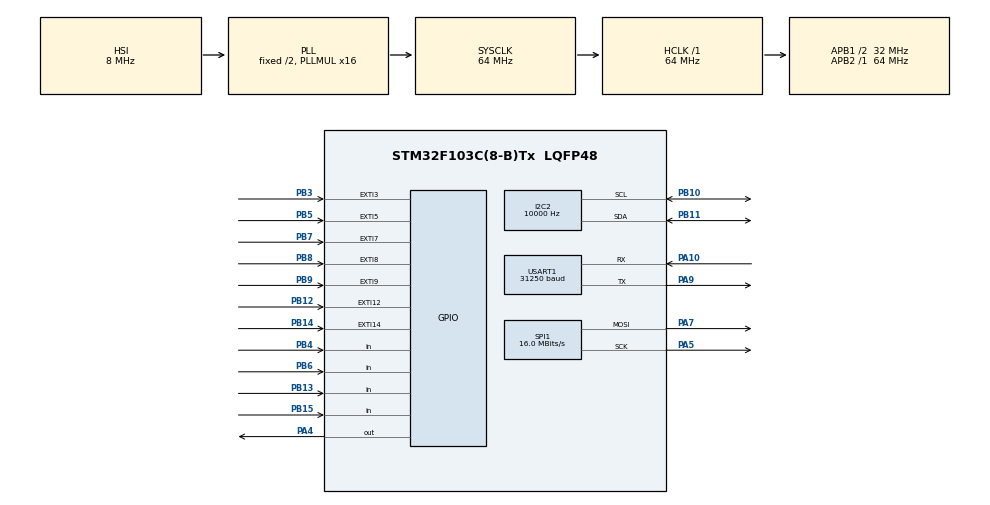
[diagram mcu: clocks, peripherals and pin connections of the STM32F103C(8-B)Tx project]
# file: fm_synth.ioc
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Mcu.Family=STM32F1
SPI1.VirtualType=VM_MASTER
Dma.I2C2_TX.0.Priority=DMA_PRIORITY_LOW
PB10.Mode=I2C
PA10.GPIO_PuPd=GPIO_NOPULL
USART1.BaudRate=31250
NVIC.EXTI3_IRQn=true\:1\:0\:true\:false\:true\:true\:true
PB3.GPIO_ModeDefaultEXTI=GPIO_MODE_IT_FALLING
PB11.Signal=I2C2_SDA
PB13.Signal=GPIO_Input
PB15.Signal=GPIO_Input
RCC.SYSCLKSource=RCC_SYSCLKSOURCE_PLLCLK
ProjectManager.StackSize=0x400
SPI1.Direction=SPI_DIRECTION_2LINES
RCC.HCLKFreq_Value=64000000
RCC.APB2TimFreq_Value=64000000
Dma.I2C2_TX.0.MemDataAlignment=DMA_MDATAALIGN_BYTE
PB6.Signal=GPIO_Input
SPI1.CalculateBaudRate=16.0 MBits/s
RCC.AHBFreq_Value=64000000
NVIC.EXTI15_10_IRQn=true\:1\:0\:true\:false\:true\:true\:true
RCC.PLLMUL=RCC_PLL_MUL16
PB3.GPIO_PuPd=GPIO_PULLUP
PA14.Mode=Serial_Wire
NVIC.TIM2_IRQn=true\:2\:0\:true\:false\:true\:true\:true
SPI1.DataSize=SPI_DATASIZE_16BIT
PB7.Signal=GPXTI7
Mcu.Package=LQFP48
PB9.Signal=GPXTI9
TIM2.Prescaler=0
PB14.GPIO_PuPd=GPIO_PULLUP
PB15.GPIO_PuPd=GPIO_PULLUP
PA10.Signal=USART1_RX
Dma.I2C2_TX.0.Direction=DMA_MEMORY_TO_PERIPH
RCC.APB1TimFreq_Value=64000000
NVIC.DMA1_Channel4_IRQn=true\:1\:0\:true\:false\:true\:false\:true
NVIC.USART1_IRQn=true\:0\:0\:true\:false\:true\:true\:true
Dma.Request0=I2C2_TX
SPI1.BaudRatePrescaler=SPI_BAUDRATEPRESCALER_4
I2C2.I2C_Mode=I2C_Standard
PB4.Signal=GPIO_Input
PA5.Mode=TX_Only_Simplex_Unidirect_Master
PB5.GPIO_ModeDefaultEXTI=GPIO_MODE_IT_FALLING
PB14.GPIO_ModeDefaultEXTI=GPIO_MODE_IT_FALLING
Dma.I2C2_TX.0.Mode=DMA_NORMAL
PA7.Mode=TX_Only_Simplex_Unidirect_Master
PA10.Mode=Asynchronous
PB6.GPIO_PuPd=GPIO_PULLUP
Dma.I2C2_TX.0.PeriphInc=DMA_PINC_DISABLE
RCC.APB1CLKDivider=RCC_HCLK_DIV2
I2C2.OwnAddress=0x0
PA13.Signal=SYS_JTMS-SWDIO
PA9.Mode=Asynchronous
PA4.PinState=GPIO_PIN_SET
PB11.Mode=I2C
ProjectManager.TargetToolchain=STM32CubeIDE
PA9.Signal=USART1_TX
PB4.GPIO_PuPd=GPIO_PULLUP
RCC.USBFreq_Value=64000000
PB10.Signal=I2C2_SCL
PB14.Signal=GPXTI14
PA5.Signal=SPI1_SCK
board=custom
PB13.GPIO_PuPd=GPIO_PULLUP
RCC.APB2Freq_Value=64000000
USART1.Mode=MODE_RX
VP_TIM2_VS_ClockSourceINT.Mode=Internal
SPI1.Mode=SPI_MODE_MASTER
Dma.I2C2_TX.0.Instance=DMA1_Channel4
I2C2.ClockSpeed=10000
TIM2.Period=1451-1
PA13.Mode=Serial_Wire
Mcu.Name=STM32F103C(8-B)Tx
PB3.Signal=GPXTI3
PA4.Signal=GPIO_Output
RCC.SYSCLKFreq_VALUE=64000000
PB5.Signal=GPXTI5
PB5.GPIO_PuPd=GPIO_PULLUP
USART1.VirtualMode=VM_ASYNC
NVIC.EXTI9_5_IRQn=true\:1\:0\:true\:false\:true\:true\:true
PA14.Signal=SYS_JTCK-SWCLK
ProjectManager.HeapSize=0x200
PB12.GPIO_ModeDefaultEXTI=GPIO_MODE_IT_FALLING
NVIC.I2C2_EV_IRQn=true\:1\:0\:true\:false\:true\:true\:true
NVIC.PriorityGroup=NVIC_PRIORITYGROUP_4
Dma.I2C2_TX.0.PeriphDataAlignment=DMA_PDATAALIGN_BYTE
PB8.Signal=GPXTI8
TIM2.AutoReloadPreload=TIM_AUTORELOAD_PRELOAD_DISABLE
Dma.I2C2_TX.0.MemInc=DMA_MINC_ENABLE
PB12.GPIO_PuPd=GPIO_PULLUP
RCC.APB1Freq_Value=32000000
PB12.Signal=GPXTI12
PA7.Signal=SPI1_MOSI

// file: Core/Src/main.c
/* USER CODE BEGIN Header */
/**
  ******************************************************************************
  * @file           : main.c
  * @brief          : Main program body
  ******************************************************************************
  * @attention
  *
  * <h2><center>&copy; Copyright (c) 2021 STMicroelectronics.
  * All rights reserved.</center></h2>
  *
  * This software component is licensed by ST under BSD 3-Clause license,
  * the "License"; You may not use this file except in compliance with the
  * License. You may obtain a copy of the License at:
  *                        opensource.org/licenses/BSD-3-Clause
  *
  ******************************************************************************
  */
/* USER CODE END Header */
#include "main.h"

/* USER CODE BEGIN Includes */
#include "midi.h"
#include "audio_out.h"
#include "synth.h"
#include "ui_fsm.h"

/* USER CODE END Includes */

I2C_HandleTypeDef hi2c2;
DMA_HandleTypeDef hdma_i2c2_tx;

SPI_HandleTypeDef hspi1;

TIM_HandleTypeDef htim2;

UART_HandleTypeDef huart1;

void SystemClock_Config(void);
static void MX_GPIO_Init(void);
static void MX_DMA_Init(void);
static void MX_USART1_UART_Init(void);
static void MX_TIM2_Init(void);
static void MX_SPI1_Init(void);
static void MX_I2C2_Init(void);

int main(void)
{

  /* MCU Configuration--------------------------------------------------------*/

  /* Reset of all peripherals, Initializes the Flash interface and the Systick. */
  HAL_Init();

  /* Configure the system clock */
  SystemClock_Config();

  /* Initialize all configured peripherals */
  MX_GPIO_Init();
  MX_DMA_Init();
  MX_USART1_UART_Init();
  MX_TIM2_Init();
  MX_SPI1_Init();
  MX_I2C2_Init();
  /* USER CODE BEGIN 2 */
  init_midi(&huart1);
  init_synth();
  init_audio_out(&hspi1, &htim2);
  init_ui(&hi2c2);
  /* USER CODE END 2 */

  /* Infinite loop */
  /* USER CODE BEGIN WHILE */
  while (1)
  {
	if (midi_buffer_read != midi_buffer_write) {
		process_midi_byte(&huart1);
	}
    /* USER CODE END WHILE */

  }
}

void SystemClock_Config(void)
{
  RCC_OscInitTypeDef RCC_OscInitStruct = {0};
  RCC_ClkInitTypeDef RCC_ClkInitStruct = {0};

  /** Initializes the RCC Oscillators according to the specified parameters
  * in the RCC_OscInitTypeDef structure.
  */
  RCC_OscInitStruct.OscillatorType = RCC_OSCILLATORTYPE_HSI;
  RCC_OscInitStruct.HSIState = RCC_HSI_ON;
  RCC_OscInitStruct.HSICalibrationValue = RCC_HSICALIBRATION_DEFAULT;
  RCC_OscInitStruct.PLL.PLLState = RCC_PLL_ON;
  RCC_OscInitStruct.PLL.PLLSource = RCC_PLLSOURCE_HSI_DIV2;
  RCC_OscInitStruct.PLL.PLLMUL = RCC_PLL_MUL16;
  if (HAL_RCC_OscConfig(&RCC_OscInitStruct) != HAL_OK)
  {
    Error_Handler();
  }
  /** Initializes the CPU, AHB and APB buses clocks
  */
  RCC_ClkInitStruct.ClockType = RCC_CLOCKTYPE_HCLK|RCC_CLOCKTYPE_SYSCLK
                              |RCC_CLOCKTYPE_PCLK1|RCC_CLOCKTYPE_PCLK2;
  RCC_ClkInitStruct.SYSCLKSource = RCC_SYSCLKSOURCE_PLLCLK;
  RCC_ClkInitStruct.AHBCLKDivider = RCC_SYSCLK_DIV1;
  RCC_ClkInitStruct.APB1CLKDivider = RCC_HCLK_DIV2;
  RCC_ClkInitStruct.APB2CLKDivider = RCC_HCLK_DIV1;

  if (HAL_RCC_ClockConfig(&RCC_ClkInitStruct, FLASH_LATENCY_2) != HAL_OK)
  {
    Error_Handler();
  }
}

static void MX_I2C2_Init(void)
{

  hi2c2.Instance = I2C2;
  hi2c2.Init.ClockSpeed = 10000;
  hi2c2.Init.DutyCycle = I2C_DUTYCYCLE_2;
  hi2c2.Init.OwnAddress1 = 0;
  hi2c2.Init.AddressingMode = I2C_ADDRESSINGMODE_7BIT;
  hi2c2.Init.DualAddressMode = I2C_DUALADDRESS_DISABLE;
  hi2c2.Init.OwnAddress2 = 0;
  hi2c2.Init.GeneralCallMode = I2C_GENERALCALL_DISABLE;
  hi2c2.Init.NoStretchMode = I2C_NOSTRETCH_DISABLE;
  if (HAL_I2C_Init(&hi2c2) != HAL_OK)
  {
    Error_Handler();
  }

}

static void MX_SPI1_Init(void)
{

  /* SPI1 parameter configuration*/
  hspi1.Instance = SPI1;
  hspi1.Init.Mode = SPI_MODE_MASTER;
  hspi1.Init.Direction = SPI_DIRECTION_2LINES;
  hspi1.Init.DataSize = SPI_DATASIZE_16BIT;
  hspi1.Init.CLKPolarity = SPI_POLARITY_LOW;
  hspi1.Init.CLKPhase = SPI_PHASE_1EDGE;
  hspi1.Init.NSS = SPI_NSS_SOFT;
  hspi1.Init.BaudRatePrescaler = SPI_BAUDRATEPRESCALER_4;
  hspi1.Init.FirstBit = SPI_FIRSTBIT_MSB;
  hspi1.Init.TIMode = SPI_TIMODE_DISABLE;
  hspi1.Init.CRCCalculation = SPI_CRCCALCULATION_DISABLE;
  hspi1.Init.CRCPolynomial = 10;
  if (HAL_SPI_Init(&hspi1) != HAL_OK)
  {
    Error_Handler();
  }

}

static void MX_TIM2_Init(void)
{

  TIM_ClockConfigTypeDef sClockSourceConfig = {0};
  TIM_MasterConfigTypeDef sMasterConfig = {0};

  htim2.Instance = TIM2;
  htim2.Init.Prescaler = 0;
  htim2.Init.CounterMode = TIM_COUNTERMODE_UP;
  htim2.Init.Period = 1451-1;
  htim2.Init.ClockDivision = TIM_CLOCKDIVISION_DIV1;
  htim2.Init.AutoReloadPreload = TIM_AUTORELOAD_PRELOAD_DISABLE;
  if (HAL_TIM_Base_Init(&htim2) != HAL_OK)
  {
    Error_Handler();
  }
  sClockSourceConfig.ClockSource = TIM_CLOCKSOURCE_INTERNAL;
  if (HAL_TIM_ConfigClockSource(&htim2, &sClockSourceConfig) != HAL_OK)
  {
    Error_Handler();
  }
  sMasterConfig.MasterOutputTrigger = TIM_TRGO_RESET;
  sMasterConfig.MasterSlaveMode = TIM_MASTERSLAVEMODE_DISABLE;
  if (HAL_TIMEx_MasterConfigSynchronization(&htim2, &sMasterConfig) != HAL_OK)
  {
    Error_Handler();
  }

}

static void MX_USART1_UART_Init(void)
{

  huart1.Instance = USART1;
  huart1.Init.BaudRate = 31250;
  huart1.Init.WordLength = UART_WORDLENGTH_8B;
  huart1.Init.StopBits = UART_STOPBITS_1;
  huart1.Init.Parity = UART_PARITY_NONE;
  huart1.Init.Mode = UART_MODE_RX;
  huart1.Init.HwFlowCtl = UART_HWCONTROL_NONE;
  huart1.Init.OverSampling = UART_OVERSAMPLING_16;
  if (HAL_UART_Init(&huart1) != HAL_OK)
  {
    Error_Handler();
  }

}

static void MX_DMA_Init(void)
{

  /* DMA controller clock enable */
  __HAL_RCC_DMA1_CLK_ENABLE();

  /* DMA interrupt init */
  /* DMA1_Channel4_IRQn interrupt configuration */
  HAL_NVIC_SetPriority(DMA1_Channel4_IRQn, 1, 0);
  HAL_NVIC_EnableIRQ(DMA1_Channel4_IRQn);

}

static void MX_GPIO_Init(void)
{
  GPIO_InitTypeDef GPIO_InitStruct = {0};

  /* GPIO Ports Clock Enable */
  __HAL_RCC_GPIOA_CLK_ENABLE();
  __HAL_RCC_GPIOB_CLK_ENABLE();

  /*Configure GPIO pin Output Level */
  HAL_GPIO_WritePin(GPIOA, GPIO_PIN_4, GPIO_PIN_SET);

  /*Configure GPIO pin : PA4 */
  GPIO_InitStruct.Pin = GPIO_PIN_4;
  GPIO_InitStruct.Mode = GPIO_MODE_OUTPUT_PP;
  GPIO_InitStruct.Pull = GPIO_NOPULL;
  GPIO_InitStruct.Speed = GPIO_SPEED_FREQ_LOW;
  HAL_GPIO_Init(GPIOA, &GPIO_InitStruct);

  /*Configure GPIO pins : PB12 PB14 PB3 PB5 */
  GPIO_InitStruct.Pin = GPIO_PIN_12|GPIO_PIN_14|GPIO_PIN_3|GPIO_PIN_5;
  GPIO_InitStruct.Mode = GPIO_MODE_IT_FALLING;
  GPIO_InitStruct.Pull = GPIO_PULLUP;
  HAL_GPIO_Init(GPIOB, &GPIO_InitStruct);

  /*Configure GPIO pins : PB13 PB15 PB4 PB6 */
  GPIO_InitStruct.Pin = GPIO_PIN_13|GPIO_PIN_15|GPIO_PIN_4|GPIO_PIN_6;
  GPIO_InitStruct.Mode = GPIO_MODE_INPUT;
  GPIO_InitStruct.Pull = GPIO_PULLUP;
  HAL_GPIO_Init(GPIOB, &GPIO_InitStruct);

  /*Configure GPIO pins : PB7 PB8 PB9 */
  GPIO_InitStruct.Pin = GPIO_PIN_7|GPIO_PIN_8|GPIO_PIN_9;
  GPIO_InitStruct.Mode = GPIO_MODE_IT_RISING;
  GPIO_InitStruct.Pull = GPIO_NOPULL;
  HAL_GPIO_Init(GPIOB, &GPIO_InitStruct);

  /* EXTI interrupt init*/
  HAL_NVIC_SetPriority(EXTI3_IRQn, 1, 0);
  HAL_NVIC_EnableIRQ(EXTI3_IRQn);

  HAL_NVIC_SetPriority(EXTI9_5_IRQn, 1, 0);
  HAL_NVIC_EnableIRQ(EXTI9_5_IRQn);

  HAL_NVIC_SetPriority(EXTI15_10_IRQn, 1, 0);
  HAL_NVIC_EnableIRQ(EXTI15_10_IRQn);

}

/* USER CODE BEGIN 4 */
void HAL_GPIO_EXTI_Callback(uint16_t GPIO_Pin) {
	switch (GPIO_Pin) {
	case UI_PB0:
		fsm(pb_0);
		break;
	case UI_PB1:
		fsm(pb_1);
		break;
	case UI_PB2:
		fsm(pb_2);
		break;
	case UI_ROT0_A:
		fsm_change_op(0);
		if ((UI_ROT_GPIO->IDR & (UI_ROT0_A | UI_ROT0_B)) == (UI_ROT0_A | UI_ROT0_B)
			|| !(UI_ROT_GPIO->IDR & (UI_ROT0_A | UI_ROT0_B))) {
			fsm(rot_dec);
		}
		else {
			fsm(rot_inc);
		}
		break;
	case UI_ROT1_A:
		fsm_change_op(1);
		if ((UI_ROT_GPIO->IDR & (UI_ROT1_A | UI_ROT1_B)) == (UI_ROT1_A | UI_ROT1_B)
			|| !(UI_ROT_GPIO->IDR & (UI_ROT1_A | UI_ROT1_B))) {
			fsm(rot_dec);
		}
		else {
			fsm(rot_inc);
		}
		break;
	case UI_ROT2_A:
		fsm_change_op(2);
		if ((UI_ROT_GPIO->IDR & (UI_ROT2_A | UI_ROT2_B)) == (UI_ROT2_A | UI_ROT2_B)
			|| !(UI_ROT_GPIO->IDR & (UI_ROT2_A | UI_ROT2_B))) {
			fsm(rot_dec);
		}
		else {
			fsm(rot_inc);
		}
		break;
	case UI_ROT3_A:
		fsm_change_op(3);
		if ((UI_ROT_GPIO->IDR & (UI_ROT3_A | UI_ROT3_B)) == (UI_ROT3_A | UI_ROT3_B)
			|| !(UI_ROT_GPIO->IDR & (UI_ROT3_A | UI_ROT3_B))) {
			fsm(rot_dec);
		}
		else {
			fsm(rot_inc);
		}
		break;
	}
}

void midi_read() {
	uint8_t midi_uart_stat = midi_uart->SR;
	if ((midi_uart_stat & USART_SR_PE) |
		(midi_uart_stat & USART_SR_FE) |
		(midi_uart_stat & USART_SR_NE) |
		(midi_uart_stat & USART_SR_LBD)) {
		midi_uart->DR;
		reset();
		return;
	}
	midi_buffer[midi_buffer_write] = midi_uart->DR;
	midi_buffer_write = (midi_buffer_write + 1) & (RING_BUFFER_SIZE - 1);
}

void sample() {
	TIM2->SR = 0;
	update_volume();
}

/* USER CODE END 4 */

void Error_Handler(void)
{
  __disable_irq();
  while (1)
  {
  }
}

/************************ (C) COPYRIGHT STMicroelectronics *****END OF FILE****/
